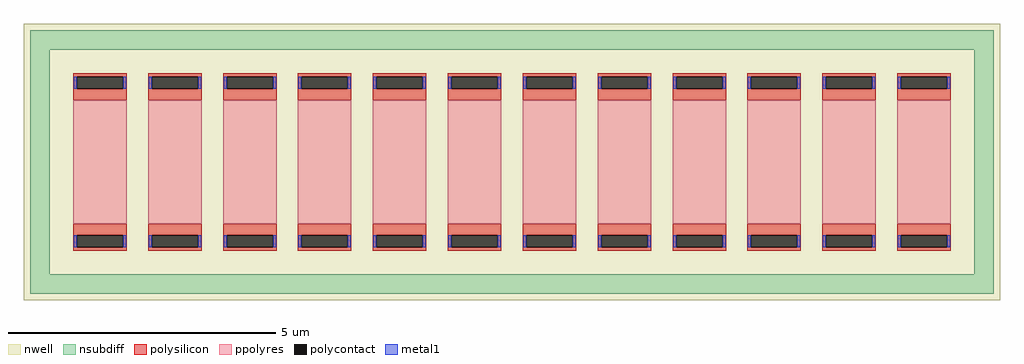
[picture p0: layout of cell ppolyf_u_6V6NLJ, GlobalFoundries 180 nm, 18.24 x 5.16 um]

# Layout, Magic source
magic
tech gf180mcuC
magscale 1 10
<< nwell >>
rect -1824 -516 1824 516
<< nsubdiff >>
rect -1800 420 1800 492
rect -1800 -420 -1728 420
rect 1728 -420 1800 420
rect -1800 -492 1800 -420
<< polysilicon >>
rect -1640 319 -1440 332
rect -1640 273 -1627 319
rect -1453 273 -1440 319
rect -1640 230 -1440 273
rect -1640 -273 -1440 -230
rect -1640 -319 -1627 -273
rect -1453 -319 -1440 -273
rect -1640 -332 -1440 -319
rect -1360 319 -1160 332
rect -1360 273 -1347 319
rect -1173 273 -1160 319
rect -1360 230 -1160 273
rect -1360 -273 -1160 -230
rect -1360 -319 -1347 -273
rect -1173 -319 -1160 -273
rect -1360 -332 -1160 -319
rect -1080 319 -880 332
rect -1080 273 -1067 319
rect -893 273 -880 319
rect -1080 230 -880 273
rect -1080 -273 -880 -230
rect -1080 -319 -1067 -273
rect -893 -319 -880 -273
rect -1080 -332 -880 -319
rect -800 319 -600 332
rect -800 273 -787 319
rect -613 273 -600 319
rect -800 230 -600 273
rect -800 -273 -600 -230
rect -800 -319 -787 -273
rect -613 -319 -600 -273
rect -800 -332 -600 -319
rect -520 319 -320 332
rect -520 273 -507 319
rect -333 273 -320 319
rect -520 230 -320 273
rect -520 -273 -320 -230
rect -520 -319 -507 -273
rect -333 -319 -320 -273
rect -520 -332 -320 -319
rect -240 319 -40 332
rect -240 273 -227 319
rect -53 273 -40 319
rect -240 230 -40 273
rect -240 -273 -40 -230
rect -240 -319 -227 -273
rect -53 -319 -40 -273
rect -240 -332 -40 -319
rect 40 319 240 332
rect 40 273 53 319
rect 227 273 240 319
rect 40 230 240 273
rect 40 -273 240 -230
rect 40 -319 53 -273
rect 227 -319 240 -273
rect 40 -332 240 -319
rect 320 319 520 332
rect 320 273 333 319
rect 507 273 520 319
rect 320 230 520 273
rect 320 -273 520 -230
rect 320 -319 333 -273
rect 507 -319 520 -273
rect 320 -332 520 -319
rect 600 319 800 332
rect 600 273 613 319
rect 787 273 800 319
rect 600 230 800 273
rect 600 -273 800 -230
rect 600 -319 613 -273
rect 787 -319 800 -273
rect 600 -332 800 -319
rect 880 319 1080 332
rect 880 273 893 319
rect 1067 273 1080 319
rect 880 230 1080 273
rect 880 -273 1080 -230
rect 880 -319 893 -273
rect 1067 -319 1080 -273
rect 880 -332 1080 -319
rect 1160 319 1360 332
rect 1160 273 1173 319
rect 1347 273 1360 319
rect 1160 230 1360 273
rect 1160 -273 1360 -230
rect 1160 -319 1173 -273
rect 1347 -319 1360 -273
rect 1160 -332 1360 -319
rect 1440 319 1640 332
rect 1440 273 1453 319
rect 1627 273 1640 319
rect 1440 230 1640 273
rect 1440 -273 1640 -230
rect 1440 -319 1453 -273
rect 1627 -319 1640 -273
rect 1440 -332 1640 -319
<< polycontact >>
rect -1627 273 -1453 319
rect -1627 -319 -1453 -273
rect -1347 273 -1173 319
rect -1347 -319 -1173 -273
rect -1067 273 -893 319
rect -1067 -319 -893 -273
rect -787 273 -613 319
rect -787 -319 -613 -273
rect -507 273 -333 319
rect -507 -319 -333 -273
rect -227 273 -53 319
rect -227 -319 -53 -273
rect 53 273 227 319
rect 53 -319 227 -273
rect 333 273 507 319
rect 333 -319 507 -273
rect 613 273 787 319
rect 613 -319 787 -273
rect 893 273 1067 319
rect 893 -319 1067 -273
rect 1173 273 1347 319
rect 1173 -319 1347 -273
rect 1453 273 1627 319
rect 1453 -319 1627 -273
<< ppolyres >>
rect -1640 -230 -1440 230
rect -1360 -230 -1160 230
rect -1080 -230 -880 230
rect -800 -230 -600 230
rect -520 -230 -320 230
rect -240 -230 -40 230
rect 40 -230 240 230
rect 320 -230 520 230
rect 600 -230 800 230
rect 880 -230 1080 230
rect 1160 -230 1360 230
rect 1440 -230 1640 230
<< metal1 >>
rect -1638 273 -1627 319
rect -1453 273 -1442 319
rect -1358 273 -1347 319
rect -1173 273 -1162 319
rect -1078 273 -1067 319
rect -893 273 -882 319
rect -798 273 -787 319
rect -613 273 -602 319
rect -518 273 -507 319
rect -333 273 -322 319
rect -238 273 -227 319
rect -53 273 -42 319
rect 42 273 53 319
rect 227 273 238 319
rect 322 273 333 319
rect 507 273 518 319
rect 602 273 613 319
rect 787 273 798 319
rect 882 273 893 319
rect 1067 273 1078 319
rect 1162 273 1173 319
rect 1347 273 1358 319
rect 1442 273 1453 319
rect 1627 273 1638 319
rect -1638 -319 -1627 -273
rect -1453 -319 -1442 -273
rect -1358 -319 -1347 -273
rect -1173 -319 -1162 -273
rect -1078 -319 -1067 -273
rect -893 -319 -882 -273
rect -798 -319 -787 -273
rect -613 -319 -602 -273
rect -518 -319 -507 -273
rect -333 -319 -322 -273
rect -238 -319 -227 -273
rect -53 -319 -42 -273
rect 42 -319 53 -273
rect 227 -319 238 -273
rect 322 -319 333 -273
rect 507 -319 518 -273
rect 602 -319 613 -273
rect 787 -319 798 -273
rect 882 -319 893 -273
rect 1067 -319 1078 -273
rect 1162 -319 1173 -273
rect 1347 -319 1358 -273
rect 1442 -319 1453 -273
rect 1627 -319 1638 -273
<< properties >>
string FIXED_BBOX -1764 -456 1764 456
string gencell ppolyf_u
string library gf180mcu
string parameters w 1.0 l 2.3 m 1 nx 12 wmin 0.80 lmin 1.00 rho 315 val 779.032 dummy 0 dw 0.07 term 0.0 sterm 0.0 caplen 0.4 snake 0 glc 0 grc 0 gtc 0 gbc 0 roverlap 0 endcov 100 full_metal 0
<< end >>
